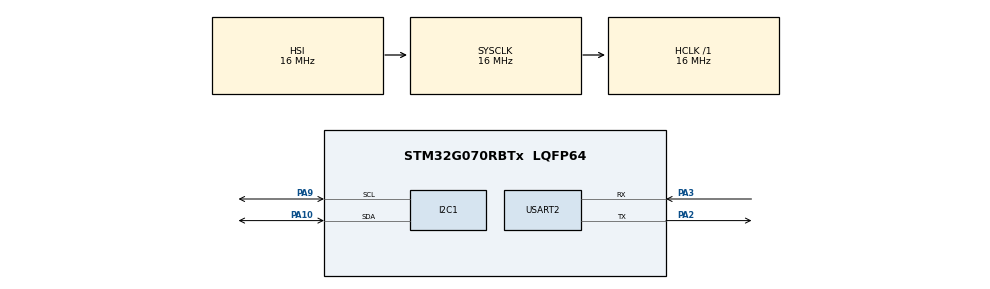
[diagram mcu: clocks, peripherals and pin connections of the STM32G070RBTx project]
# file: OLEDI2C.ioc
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I2C1.Timing=0x00503D58
Mcu.Family=STM32G0
Mcu.Name=STM32G070RBTx
Mcu.Package=LQFP64
PA10.Mode=I2C
PA10.Signal=I2C1_SDA
PA2.Mode=Asynchronous
PA2.Signal=USART2_TX
PA3.Mode=Asynchronous
PA3.Signal=USART2_RX
PA9.Mode=I2C
PA9.Signal=I2C1_SCL
PF0-OSC_IN\ (PF0).GPIO_Label=MCO
PF0-OSC_IN\ (PF0).Mode=HSE-External-Clock-Source
PF0-OSC_IN\ (PF0).Signal=RCC_OSC_IN
ProjectManager.HeapSize=0x200
ProjectManager.StackSize=0x400
ProjectManager.TargetToolchain=STM32CubeIDE
RCC.AHBFreq_Value=16000000
RCC.CortexFreq_Value=16000000
RCC.EXTERNAL_CLOCK_VALUE=12288000
RCC.HCLKFreq_Value=16000000
RCC.HSE_VALUE=8000000
RCC.HSI_VALUE=16000000
RCC.SYSCLKFreq_VALUE=16000000
RCC.VCOOutputFreq_Value=128000000
USART2.VirtualMode-Asynchronous=VM_ASYNC
board=NUCLEO-G070RB

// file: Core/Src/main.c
/* USER CODE BEGIN Header */
/**
  ******************************************************************************
  * @file           : main.c
  * @brief          : Main program body
  ******************************************************************************
  * @attention
  *
  * Copyright (c) 2026 STMicroelectronics.
  * All rights reserved.
  *
  * This software is licensed under terms that can be found in the LICENSE file
  * in the root directory of this software component.
  * If no LICENSE file comes with this software, it is provided AS-IS.
  *
  ******************************************************************************
  */
/* USER CODE END Header */
#include "main.h"

/* USER CODE BEGIN Includes */
#include <stdio.h>
#include <string.h>
#include "ssd1306.h"
#include "fonts.h"
/* USER CODE END Includes */

I2C_HandleTypeDef hi2c1;

UART_HandleTypeDef huart2;

void SystemClock_Config(void);
static void MX_GPIO_Init(void);
static void MX_I2C1_Init(void);
static void MX_USART2_UART_Init(void);

/* USER CODE BEGIN 0 */
int __io_putchar(int ch)
{
  HAL_UART_Transmit(&huart2, (uint8_t *)&ch, 1, HAL_MAX_DELAY);
  return ch;
}
/* USER CODE END 0 */

int main(void)
{

  /* MCU Configuration--------------------------------------------------------*/

  /* Reset of all peripherals, Initializes the Flash interface and the Systick. */
  HAL_Init();

  /* Configure the system clock */
  SystemClock_Config();

  /* Initialize all configured peripherals */
  MX_GPIO_Init();
  MX_I2C1_Init();
  MX_USART2_UART_Init();
  /* USER CODE BEGIN 2 */
  ssd1306_Init(&hi2c1);

  ssd1306_SetCursor(0,0);
  ssd1306_WriteString("Hello STM32", Font_7x10, White);
  ssd1306_UpdateScreen(&hi2c1);
  /* USER CODE END 2 */

  /* Infinite loop */
  while (1)
  {

    /* USER CODE BEGIN 3 */
  printf("I2C Scan Start\r\n");

      for (uint8_t addr = 1; addr < 128; addr++){
        if (HAL_I2C_IsDeviceReady(&hi2c1, (uint16_t)(addr << 1), 1, 10) == HAL_OK)
        {
          printf("Found device at 0x%02X\r\n", addr);
        }
      }

      printf("I2C Scan End\r\n\r\n");
      HAL_Delay(2000);
  }
  /* USER CODE END 3 */
}

void SystemClock_Config(void)
{
  RCC_OscInitTypeDef RCC_OscInitStruct = {0};
  RCC_ClkInitTypeDef RCC_ClkInitStruct = {0};

  /** Configure the main internal regulator output voltage
  */
  HAL_PWREx_ControlVoltageScaling(PWR_REGULATOR_VOLTAGE_SCALE1);

  /** Initializes the RCC Oscillators according to the specified parameters
  * in the RCC_OscInitTypeDef structure.
  */
  RCC_OscInitStruct.OscillatorType = RCC_OSCILLATORTYPE_HSI;
  RCC_OscInitStruct.HSIState = RCC_HSI_ON;
  RCC_OscInitStruct.HSIDiv = RCC_HSI_DIV1;
  RCC_OscInitStruct.HSICalibrationValue = RCC_HSICALIBRATION_DEFAULT;
  RCC_OscInitStruct.PLL.PLLState = RCC_PLL_NONE;
  if (HAL_RCC_OscConfig(&RCC_OscInitStruct) != HAL_OK)
  {
    Error_Handler();
  }

  /** Initializes the CPU, AHB and APB buses clocks
  */
  RCC_ClkInitStruct.ClockType = RCC_CLOCKTYPE_HCLK|RCC_CLOCKTYPE_SYSCLK
                              |RCC_CLOCKTYPE_PCLK1;
  RCC_ClkInitStruct.SYSCLKSource = RCC_SYSCLKSOURCE_HSI;
  RCC_ClkInitStruct.AHBCLKDivider = RCC_SYSCLK_DIV1;
  RCC_ClkInitStruct.APB1CLKDivider = RCC_HCLK_DIV1;

  if (HAL_RCC_ClockConfig(&RCC_ClkInitStruct, FLASH_LATENCY_0) != HAL_OK)
  {
    Error_Handler();
  }
}

static void MX_I2C1_Init(void)
{

  hi2c1.Instance = I2C1;
  hi2c1.Init.Timing = 0x00503D58;
  hi2c1.Init.OwnAddress1 = 0;
  hi2c1.Init.AddressingMode = I2C_ADDRESSINGMODE_7BIT;
  hi2c1.Init.DualAddressMode = I2C_DUALADDRESS_DISABLE;
  hi2c1.Init.OwnAddress2 = 0;
  hi2c1.Init.OwnAddress2Masks = I2C_OA2_NOMASK;
  hi2c1.Init.GeneralCallMode = I2C_GENERALCALL_DISABLE;
  hi2c1.Init.NoStretchMode = I2C_NOSTRETCH_DISABLE;
  if (HAL_I2C_Init(&hi2c1) != HAL_OK)
  {
    Error_Handler();
  }

  /** Configure Analogue filter
  */
  if (HAL_I2CEx_ConfigAnalogFilter(&hi2c1, I2C_ANALOGFILTER_ENABLE) != HAL_OK)
  {
    Error_Handler();
  }

  /** Configure Digital filter
  */
  if (HAL_I2CEx_ConfigDigitalFilter(&hi2c1, 0) != HAL_OK)
  {
    Error_Handler();
  }

}

static void MX_USART2_UART_Init(void)
{

  huart2.Instance = USART2;
  huart2.Init.BaudRate = 115200;
  huart2.Init.WordLength = UART_WORDLENGTH_8B;
  huart2.Init.StopBits = UART_STOPBITS_1;
  huart2.Init.Parity = UART_PARITY_NONE;
  huart2.Init.Mode = UART_MODE_TX_RX;
  huart2.Init.HwFlowCtl = UART_HWCONTROL_NONE;
  huart2.Init.OverSampling = UART_OVERSAMPLING_16;
  huart2.Init.OneBitSampling = UART_ONE_BIT_SAMPLE_DISABLE;
  huart2.Init.ClockPrescaler = UART_PRESCALER_DIV1;
  huart2.AdvancedInit.AdvFeatureInit = UART_ADVFEATURE_NO_INIT;
  if (HAL_UART_Init(&huart2) != HAL_OK)
  {
    Error_Handler();
  }
  if (HAL_UARTEx_SetTxFifoThreshold(&huart2, UART_TXFIFO_THRESHOLD_1_8) != HAL_OK)
  {
    Error_Handler();
  }
  if (HAL_UARTEx_SetRxFifoThreshold(&huart2, UART_RXFIFO_THRESHOLD_1_8) != HAL_OK)
  {
    Error_Handler();
  }
  if (HAL_UARTEx_DisableFifoMode(&huart2) != HAL_OK)
  {
    Error_Handler();
  }

}

static void MX_GPIO_Init(void)
{

  /* GPIO Ports Clock Enable */
  __HAL_RCC_GPIOF_CLK_ENABLE();
  __HAL_RCC_GPIOA_CLK_ENABLE();

}

void Error_Handler(void)
{
  __disable_irq();
  while (1)
  {
  }
}
